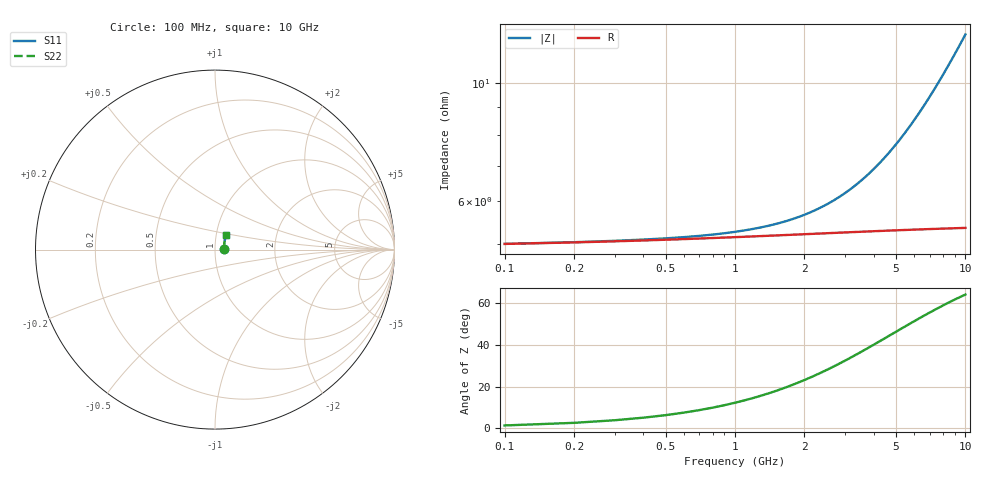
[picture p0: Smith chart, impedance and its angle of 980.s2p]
# Hz S RI R 50.00
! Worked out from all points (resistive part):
!   100 points, 100 MHz to 10 GHz, reference 50 ohm
!   read as one part in series: R = 4.99 ohm at 100 MHz
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1e8  0.0476 0.000853  0.9524 -0.00116  0.9524 -0.00116  0.0476 0.000853
2e8  0.0479 0.0017  0.9521 -0.00233  0.9521 -0.00233  0.0479 0.0017
3e8  0.0481 0.00255  0.9519 -0.00349  0.9519 -0.00349  0.0481 0.00255
9e8  0.0489 0.00765  0.9511 -0.0104  0.9511 -0.0104  0.0489 0.00765
1.2e9  0.0492 0.0102  0.9508 -0.0139  0.9508 -0.0139  0.0492 0.0102
1.5e9  0.0495 0.0127  0.9505 -0.0174  0.9505 -0.0174  0.0495 0.0127
1.8e9  0.0497 0.0153  0.9502 -0.0209  0.9502 -0.0209  0.0497 0.0153
2.1e9  0.05 0.0178  0.95 -0.0243  0.95 -0.0243  0.05 0.0178
2.5e9  0.0503 0.0212  0.9496 -0.029  0.9496 -0.029  0.0503 0.0212
2.9e9  0.0507 0.0246  0.9492 -0.0336  0.9492 -0.0336  0.0507 0.0246
3.4e9  0.0512 0.0288  0.9488 -0.0394  0.9488 -0.0394  0.0512 0.0288
3.7e9  0.0515 0.0313  0.9485 -0.0428  0.9485 -0.0428  0.0515 0.0313
4.1e9  0.0519 0.0347  0.948 -0.0474  0.948 -0.0474  0.0519 0.0347
5.1e9  0.053 0.043  0.9468 -0.0589  0.9468 -0.0589  0.053 0.043
6e9  0.0542 0.0506  0.9456 -0.0692  0.9456 -0.0692  0.0542 0.0506
6.7e9  0.0552 0.0564  0.9446 -0.0772  0.9446 -0.0772  0.0552 0.0564
7.2e9  0.056 0.0605  0.9438 -0.0829  0.9438 -0.0829  0.056 0.0605
7.6e9  0.0566 0.0638  0.9431 -0.0875  0.9431 -0.0875  0.0566 0.0638
8.4e9  0.058 0.0704  0.9416 -0.0966  0.9416 -0.0966  0.058 0.0704
9.2e9  0.0595 0.077  0.94 -0.1056  0.94 -0.1056  0.0595 0.077
9.6e9  0.0603 0.0803  0.9392 -0.1101  0.9392 -0.1101  0.0603 0.0803
1e10  0.0612 0.0835  0.9383 -0.1146  0.9383 -0.1146  0.0612 0.0835
